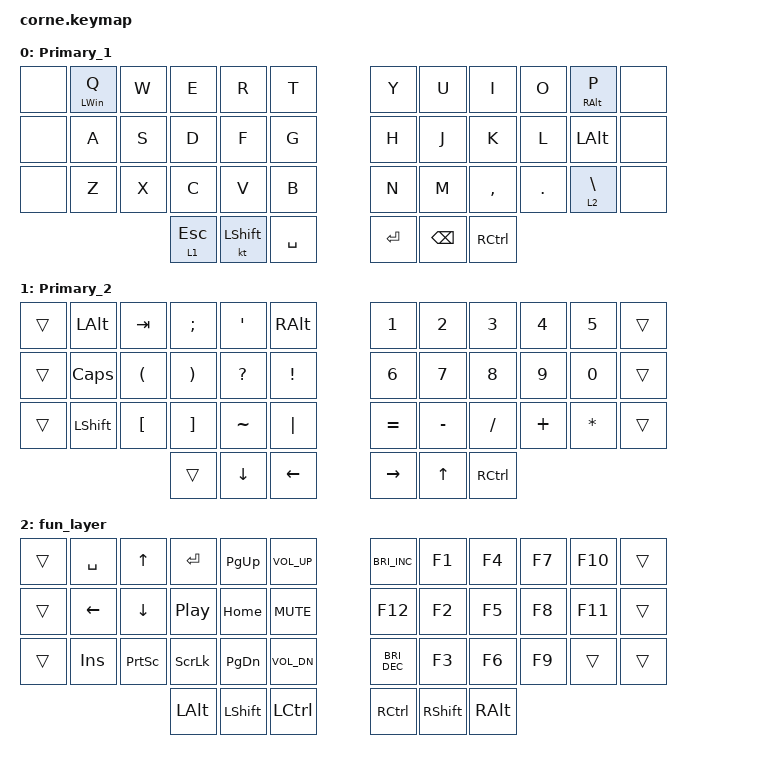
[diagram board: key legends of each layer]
/*
 * Copyright (c) 2020 The ZMK Contributors
 *
 * SPDX-License-Identifier: MIT
 */

#include <behaviors.dtsi>
#include <dt-bindings/zmk/keys.h>
#include <dt-bindings/zmk/keys.h>

&mt {
    tapping-term-ms = <400>;
    quick-tap-ms = <175>;
    require-prior-idle-ms = <150>;
    flavor = "balanced";
};

&lt { tapping-term-ms = <400>; };

/ {
    combos {
        compatible = "zmk,combos";

        combo_esc {
            timeout-ms = <50>;
            key-positions = <1 2 3>;
            bindings = <&kp ESCAPE>;
        };

        combo_bksp {
            timeout-ms = <50>;
            key-positions = <10 9 8>;
            bindings = <&kp BACKSPACE>;
        };

        combo_tab {
            bindings = <&kp TAB>;
            key-positions = <13 14 15>;
        };

        combo_shift {
            bindings = <&kp LEFT_SHIFT>;
            key-positions = <25 26 27>;
        };

        combo_delete {
            bindings = <&kp DELETE>;
            key-positions = <21 22 20>;
        };

        combo_rshift {
            bindings = <&kp RIGHT_SHIFT>;
            key-positions = <33 34 32>;
        };

        exclm {
            bindings = <&kp EXCLAMATION>;
            key-positions = <1 13>;
        };

        at {
            bindings = <&kp AT_SIGN>;
            key-positions = <2 14>;
        };

        hash {
            bindings = <&kp HASH>;
            key-positions = <3 15>;
        };

        dllr {
            bindings = <&kp DOLLAR>;
            key-positions = <4 16>;
        };

        percnt {
            bindings = <&kp PERCENT>;
            key-positions = <5 17>;
        };

        caret {
            bindings = <&kp CARET>;
            key-positions = <6 18>;
        };

        and {
            bindings = <&kp AMPERSAND>;
            key-positions = <7 19>;
        };

        str {
            bindings = <&kp ASTERISK>;
            key-positions = <8 20>;
        };

        leftparen {
            bindings = <&kp LPAR>;
            key-positions = <9 21>;
        };

        rparen {
            bindings = <&kp RPAR>;
            key-positions = <10 22>;
        };

        layout_switch {
            bindings = <&tog 0>;
            key-positions = <36 37 40 41>;
        };

        system_reset {
            bindings = <&sys_reset>;
            key-positions = <3 4 5 14>;
        };

        bootloader {
            bindings = <&bootloader>;
            key-positions = <15 16 17 26>;
        };

        system_layer_combo {
            bindings = <&mo 0>;
            key-positions = <36 37 38>;
        };
    };

    conditional_layers { compatible = "zmk,conditional-layers"; };

    keymap {
        compatible = "zmk,keymap";

        Primary_1 {
            bindings = <
&none  &mt LEFT_WIN Q  &kp W  &kp E         &kp R           &kp T        &kp Y      &kp U          &kp I      &kp O    &mt RIGHT_ALT P  &none
&none  &kp A           &kp S  &kp D         &kp F           &kp G        &kp H      &kp J          &kp K      &kp L    &kp LEFT_ALT     &none
&none  &kp Z           &kp X  &kp C         &kp V           &kp B        &kp N      &kp M          &kp COMMA  &kp DOT  &lt 2 BACKSLASH  &none
                              &lt 1 ESCAPE  &kt LEFT_SHIFT  &kp SPACE    &kp ENTER  &kp BACKSPACE  &kp RCTRL
            >;
        };

        Primary_2 {
            bindings = <
&trans  &kp LEFT_ALT    &kp TAB               &kp SEMI               &kp SINGLE_QUOTE  &kp RIGHT_ALT    &kp NUMBER_1  &kp NUMBER_2  &kp NUMBER_3       &kp NUMBER_4  &kp N5     &trans
&trans  &kp CLCK        &kp LEFT_PARENTHESIS  &kp RIGHT_PARENTHESIS  &kp QUESTION      &kp EXCL         &kp NUMBER_6  &kp N7        &kp N8             &kp N9        &kp N0     &trans
&trans  &kp LEFT_SHIFT  &kp LEFT_BRACKET      &kp RIGHT_BRACKET      &kp TILDE         &kp PIPE         &kp EQUAL     &kp MINUS     &kp SLASH          &kp PLUS      &kp ASTRK  &trans
                                              &trans                 &kp DOWN          &kp LEFT         &kp RIGHT     &kp UP_ARROW  &kp RIGHT_CONTROL
            >;
        };

        fun_layer {
            bindings = <
&trans  &kp SPACE  &kp UP_ARROW     &kp ENTER       &kp PAGE_UP     &kp C_VOL_UP        &kp C_BRIGHTNESS_INC  &kp F1           &kp F4         &kp F7  &kp F10  &trans
&trans  &kp LEFT   &kp DOWN         &kp C_PP        &kp HOME        &kp C_MUTE          &kp F12               &kp F2           &kp F5         &kp F8  &kp F11  &trans
&trans  &kp INS    &kp PRINTSCREEN  &kp SCROLLLOCK  &kp PAGE_DOWN   &kp C_VOL_DN        &kp C_BRIGHTNESS_DEC  &kp F3           &kp F6         &kp F9  &trans   &trans
                                    &kp LEFT_ALT    &kp LEFT_SHIFT  &kp LEFT_CONTROL    &kp RIGHT_CONTROL     &kp RIGHT_SHIFT  &kp RIGHT_ALT
            >;
        };
    };
};
